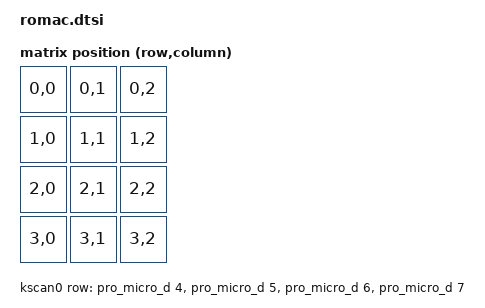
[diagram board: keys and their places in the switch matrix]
/*
 * Copyright (c) 2020 Pete Johansen, Richard Jones
 *
 * SPDX-License-Identifier: MIT
 */

#include <dt-bindings/zmk/matrix-transform.h>

/ {
	chosen {
		zmk,kscan = &kscan0;
		zmk,matrix_transform = &default_transform;
	};

	default_transform: keymap_transform_0 {
		compatible = "zmk,matrix-transform";
		columns = <3>;
		rows = <4>;
// | MX1  | MX2  | MX3  |
// | MX4  | MX5  | MX6  |
// | MX7  | MX8  | MX9  |
// | MX10 | MX11 | MX12 |
		map = <
RC(0,0) RC(0,1) RC(0,2)
RC(1,0) RC(1,1) RC(1,2)
RC(2,0) RC(2,1) RC(2,2)
RC(3,0) RC(3,1) RC(3,2)
		>;
	};

	kscan0: kscan {
		compatible = "zmk,kscan-gpio-matrix";
		label = "KSCAN";

		diode-direction = "col2row";
		row-gpios
			= <&pro_micro_d 4 (GPIO_ACTIVE_HIGH | GPIO_PULL_DOWN)>
			, <&pro_micro_d 5 (GPIO_ACTIVE_HIGH | GPIO_PULL_DOWN)>
			, <&pro_micro_d 6 (GPIO_ACTIVE_HIGH | GPIO_PULL_DOWN)>
			, <&pro_micro_d 7 (GPIO_ACTIVE_HIGH | GPIO_PULL_DOWN)>
			//= <&pro_micro_a 7 (GPIO_ACTIVE_LOW | GPIO_PULL_DOWN)>
			//, <&pro_micro_d 5 (GPIO_ACTIVE_HIGH | GPIO_PULL_DOWN)>
			//, <&pro_micro_d 6 (GPIO_ACTIVE_HIGH | GPIO_PULL_DOWN)>
			//, <&pro_micro_d 7 (GPIO_ACTIVE_HIGH | GPIO_PULL_DOWN)>
			;

	};

	bt_unpair_combo: bt_unpair_combo {
		compatible = "zmk,bt-unpair-combo";
	};

};

